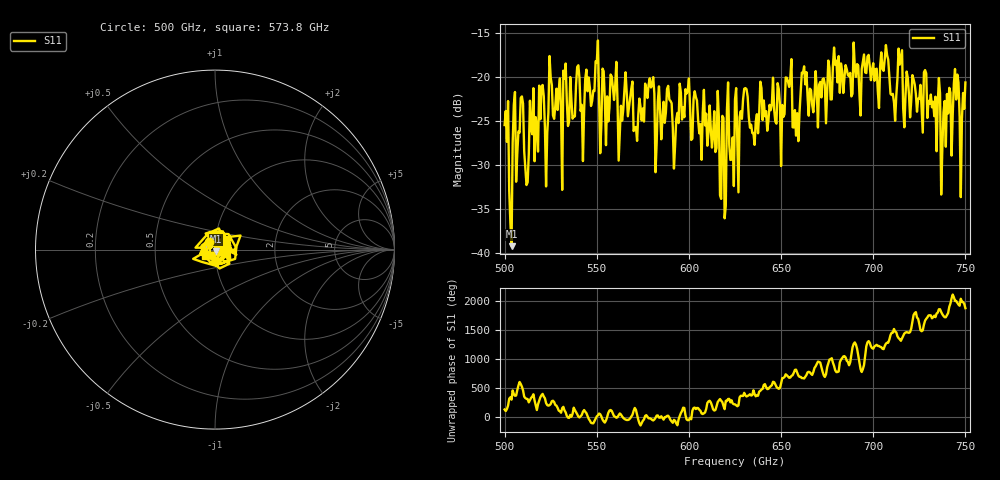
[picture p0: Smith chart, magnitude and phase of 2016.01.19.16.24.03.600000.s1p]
!Created with skrf (http://scikit-rf.org).
# GHz S RI R 50.0
!freq ReS11 ImS11
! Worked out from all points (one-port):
!   401 points, 500 GHz to 750 GHz, reference 50 ohm
!   lowest |S11| = -39.3 dB at 503.8 GHz (marker M1), VSWR 1.02, Z = 50.5 - j0.971 ohm
!   |S11| at or under -10 dB: start of sweep to end of sweep
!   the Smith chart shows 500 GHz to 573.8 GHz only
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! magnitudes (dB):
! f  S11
! 500 GHz  -25.4
! 503.8 GHz  -39.3
! 508.8 GHz  -22.4
! 511.9 GHz  -32.3
! 520 GHz  -21.0
! 522.5 GHz  -32.4
! 525 GHz  -20.0
! 531.2 GHz  -32.8
! 540 GHz  -18.6
! 542.5 GHz  -29.5
! 549.4 GHz  -18.2
! 562.5 GHz  -26.2
! 579.4 GHz  -21.2
! 583.1 GHz  -22.8
! 593.8 GHz  -24.1
! 615 GHz  -28.1
! 618.8 GHz  -24.6
! 625 GHz  -22.5
! 630.6 GHz  -21.2
! 634.4 GHz  -26.4
! 656.2 GHz  -25.7
! 687.5 GHz  -19.5
! 706.9 GHz  -16.3
! 710.6 GHz  -21.9
! 714.4 GHz  -18.5
! 718.8 GHz  -20.1
! 738.1 GHz  -24.0
! 750 GHz  -20.6
